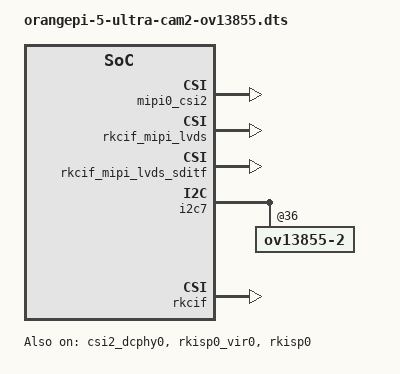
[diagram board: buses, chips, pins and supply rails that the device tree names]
/dts-v1/;
/plugin/;

/ {
	fragment@0 {
		target = <&csi2_dcphy0>;
		__overlay__ {
			status = "okay";
		};
	};

	fragment@1 {
		target = <&mipi0_csi2>;
		__overlay__ {
			status = "okay";
		};
	};

	fragment@2 {
		target = <&rkcif_mipi_lvds>;
		__overlay__ {
			status = "okay";
		};
	};

	fragment@3 {
		target = <&rkcif_mipi_lvds_sditf>;
		__overlay__ {
			status = "okay";
		};
	};

	fragment@4 {
		target = <&rkisp0_vir0>;
		__overlay__ {
			status = "okay";
		};
	};

	fragment@5 {
		target = <&i2c7>;
		__overlay__ {
			status = "okay";

			ov13855-2@36 {
				status = "okay";
			};
		};
	};

	fragment@6 {
		target = <&rkcif>;
		__overlay__ {
			status = "okay";
		};
	};

	fragment@7 {
		target = <&rkcif_mmu>;
		__overlay__ {
			status = "okay";
		};
	};

	fragment@8 {
		target = <&rkisp0>;
		__overlay__ {
			status = "okay";
		};
	};

	fragment@9 {
		target = <&isp0_mmu>;
		__overlay__ {
			status = "okay";
		};
	};
};
